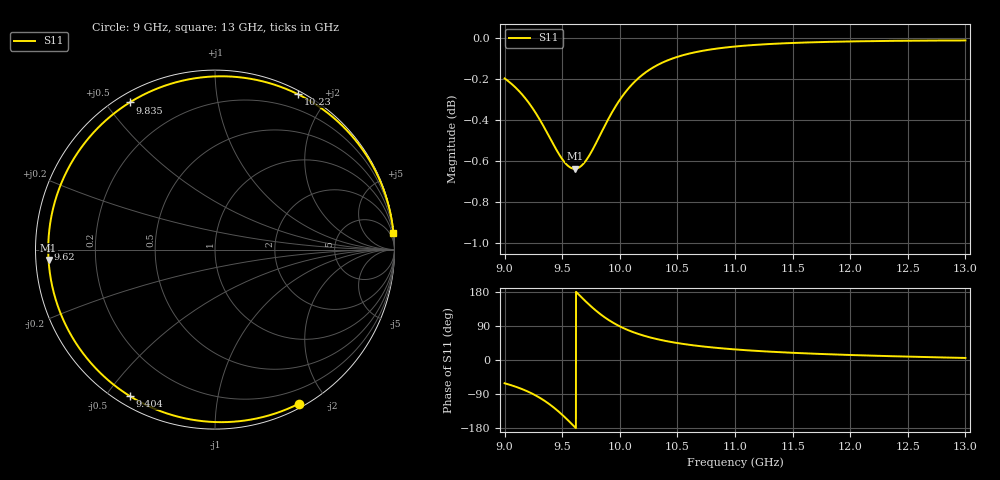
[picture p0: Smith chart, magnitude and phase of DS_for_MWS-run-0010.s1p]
! TOUCHSTONE file generated by CST DESIGN STUDIO
! Date and time: Tue Feb  4 18:06:11 2025
! Project name: C:\Work\MatlabApps\UnitCellOptimizationMatlab\CST\unitcell.cst
! Tree item: Tasks\Sweep1\SPara1\S-Parameters
! Header version: 2024
! Port assignment regex: !\s*Touchstone port\s*([0-9]+)\s*=\s*(CST MWS port|CST DES external port|CST DES block port)\s*(.+)\s* \(\"(.*)\"\)(\s*mode\s*([0-9]+))?.*
! Touchstone port assignment:
! Touchstone port 1 = CST DES external port 1 ("")
# GHz S MA R 50
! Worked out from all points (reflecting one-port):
!   4001 points, 9 GHz to 13 GHz, reference 50 ohm
!   lowest |S11| = -0.6 dB at 9.608 GHz (marker M1), VSWR 27.24, Z = 1.84 - j1.55 ohm
!   phase of S11 starts at -61 deg and turns -293 deg over the sweep
!   S11 on the Smith chart (normalised r, x): 9 GHz: 0.04, -1.68; 9.404 GHz: 0.04, -0.58; 9.62 GHz: 0.04, +0.00; 9.835 GHz: 0.04, +0.58; 10.23 GHz: 0.04, +1.67; 13 GHz: 0, +21
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9  0.9774 -61.4
9.054  0.9747 -66.2
9.126  0.9704 -73.8
9.189  0.9658 -81.5
9.25  0.9606 -90.4
9.332  0.9522 -104.7
9.404  0.9441 -120.0
9.452  0.9389 -131.7
9.5  0.9342 -144.5
9.557  0.9304 -161.0
9.608  0.9292 -176.4
9.62  0.9292 179.9
9.665  0.9307 166.2
9.712  0.934 152.3
9.774  0.9403 135.2
9.835  0.9476 120.1
9.911  0.9566 104.1
10  0.9657 88.8
10.112  0.9745 74.0
10.234  0.9811 61.9
10.357  0.9857 52.8
10.5  0.9892 44.7
10.72  0.9926 35.8
11  0.995 27.9
11.5  0.997 19.0
12  0.9978 13.2
12.5  0.9982 8.9
13  0.9984 5.4
